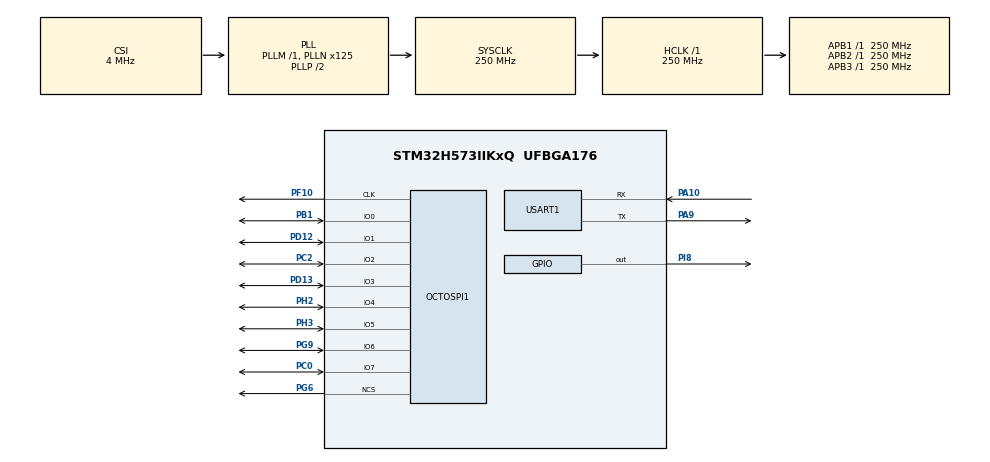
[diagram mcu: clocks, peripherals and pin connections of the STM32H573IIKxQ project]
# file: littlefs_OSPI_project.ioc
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BOOTPATH.BootPathName=LEGACY
BOOTPATH.UserSelectedBootPath=LEGACY
CORTEX_M33_NS.userName=CORTEX_M33
Mcu.Family=STM32H5
Mcu.Name=STM32H573IIKxQ
Mcu.Package=UFBGA176
NVIC.PriorityGroup=NVIC_PRIORITYGROUP_4
OCTOSPI1.DelayHoldQuarterCycle=HAL_XSPI_DHQC_DISABLE
OCTOSPI1.FifoThresholdByte=1
OCTOSPI1.MemorySize=HAL_XSPI_SIZE_64B
OCTOSPI1.MemoryType=HAL_XSPI_MEMTYPE_MACRONIX
PA10.Mode=Asynchronous
PA10.Signal=USART1_RX
PA9.Mode=Asynchronous
PA9.Signal=USART1_TX
PB1.Mode=OCTOSPI1_IO_Octo
PB1.Signal=OCTOSPI1_IO0
PB2.Signal=OCTOSPI1_DQS
PC0.Mode=OCTOSPI1_IO_Octo
PC0.Signal=OCTOSPI1_IO7
PC2.Mode=OCTOSPI1_IO_Octo
PC2.Signal=OCTOSPI1_IO2
PD12.Mode=OCTOSPI1_IO_Octo
PD12.Signal=OCTOSPI1_IO1
PD13.Mode=OCTOSPI1_IO_Octo
PD13.Signal=OCTOSPI1_IO3
PF10.Mode=octo_mode
PF10.Signal=OCTOSPI1_CLK
PG6.Mode=octo_mode
PG6.Signal=OCTOSPI1_NCS
PG9.Mode=OCTOSPI1_IO_Octo
PG9.Signal=OCTOSPI1_IO6
PH2.Mode=OCTOSPI1_IO_Octo
PH2.Signal=OCTOSPI1_IO4
PH3.Mode=OCTOSPI1_IO_Octo
PH3.Signal=OCTOSPI1_IO5
PI8.Signal=GPIO_Output
ProjectManager.HeapSize=0x200
ProjectManager.StackSize=0x400
ProjectManager.TargetToolchain=STM32CubeIDE
RCC.ADCFreq_Value=250000000
RCC.AHBFreq_Value=250000000
RCC.APB1Freq_Value=250000000
RCC.APB1TimFreq_Value=250000000
RCC.APB2Freq_Value=250000000
RCC.APB2TimFreq_Value=250000000
RCC.APB3Freq_Value=250000000
RCC.CSI_VALUE=4000000
RCC.CortexFreq_Value=250000000
RCC.EPOD_VALUE=4000000
RCC.HCLKFreq_Value=250000000
RCC.HSE_VALUE=25000000
RCC.HSI48_VALUE=48000000
RCC.HSI_VALUE=64000000
RCC.LSE_VALUE=32768
RCC.LSIRC_VALUE=32000
RCC.PLLFRACN=0
RCC.PLLN=125
RCC.SYSCLKFreq_VALUE=250000000
RCC.SYSCLKSource=RCC_SYSCLKSOURCE_PLLCLK
RCC.USBFreq_Value=48000000
RCC.VCOOutputFreq_Value=500000000
USART1.VirtualMode-Asynchronous=VM_ASYNC
VP_BOOTPATH_VS_BOOTPATH.Mode=BP_Activate
VP_CORTEX_M33_NS_VS_Hclk.Mode=Hclk_Mode
VP_ICACHE_VS_ICACHE.Mode=DefaultMode
VP_MEMORYMAP_VS_MEMORYMAP.Mode=CurAppReg
VP_PWR_VS_LPOM.Mode=PowerOptimisation
VP_PWR_VS_SECSignals.Mode=Security/Privilege
board=custom

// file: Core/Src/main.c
/* USER CODE BEGIN Header */
/* USER CODE END Header */

#include "main.h"
#include "icache.h"
#include "memorymap.h"
#include "octospi.h"
#include "usart.h"
#include "gpio.h"

/* USER CODE BEGIN Includes */
#include "lfs.h"
#include "lfs_util.h"
#include "xspi_driver.h"
#include "stm32h573i_discovery_ospi.h"
#include "lfs_config.h"
/* USER CODE END Includes */

void SystemClock_Config(void);
/* USER CODE BEGIN PFP */
void blink_led(int times) {
  for (int i = 0; i < times; i++) {
    HAL_GPIO_TogglePin(GPIOI, GPIO_PIN_8); // LD2
    HAL_Delay(500);
    HAL_GPIO_TogglePin(GPIOI, GPIO_PIN_8);
    HAL_Delay(500);
  }
}
/* USER CODE END PFP */

int main(void)
{

  /* MCU Configuration--------------------------------------------------------*/
  HAL_Init();

  SystemClock_Config();

  MX_GPIO_Init();
  MX_ICACHE_Init();
  MX_OCTOSPI1_Init();
  MX_USART1_UART_Init();

  /* USER CODE BEGIN 2 */
  HAL_UART_Transmit(&huart1, (uint8_t*)"Init done. Starting LittleFS test...\r\n", 38, HAL_MAX_DELAY);
  blink_led(4);

  lfs_t lfs;
  struct lfs_config cfg;

  if (lfs_init(&lfs, &cfg) != 0) {
    Error_Handler();
  }

  lfs_file_t file;
  const char *text = "Hello from LittleFS!\r\n";
  if (lfs_file_open(&lfs, &file, "test.txt", LFS_O_WRONLY | LFS_O_CREAT) < 0) {
    Error_Handler();
  }
  lfs_file_write(&lfs, &file, text, strlen(text));
  lfs_file_close(&lfs, &file);

  char buffer[64] = {0};
  if (lfs_file_open(&lfs, &file, "test.txt", LFS_O_RDONLY) < 0) {
    Error_Handler();
  }
  lfs_file_read(&lfs, &file, buffer, sizeof(buffer));
  lfs_file_close(&lfs, &file);
  HAL_UART_Transmit(&huart1, (uint8_t*)buffer, strlen(buffer), HAL_MAX_DELAY);
  blink_led(5);

  lfs_file_t file2;
  const char *text2 = "Test File2!\r\n";
  if (lfs_file_open(&lfs, &file2, "test2.txt", LFS_O_WRONLY | LFS_O_CREAT) < 0) {
    Error_Handler();
  }
  lfs_file_write(&lfs, &file2, text2, strlen(text2));
  lfs_file_close(&lfs, &file2);

  if (lfs_file_open(&lfs, &file2, "test2.txt", LFS_O_RDONLY) < 0) {
    Error_Handler();
  }
  char bufferr[64] = {0};
  lfs_file_read(&lfs, &file2, bufferr, sizeof(bufferr));
  lfs_file_close(&lfs, &file2);
  HAL_UART_Transmit(&huart1, (uint8_t*)bufferr, strlen(bufferr), HAL_MAX_DELAY);
  blink_led(5);

  HAL_UART_Transmit(&huart1, (uint8_t*)"Testing lfs_remove()...\r\n", 26, HAL_MAX_DELAY);

  int err = lfs_remove(&lfs, "test.txt");
  if (err == 0) {
    HAL_UART_Transmit(&huart1, (uint8_t*)"File removed successfully.\r\n", 29, HAL_MAX_DELAY);
  } else if (err == LFS_ERR_NOENT) {
    HAL_UART_Transmit(&huart1, (uint8_t*)"File did not exist (OK).\r\n", 27, HAL_MAX_DELAY);
  } else {
    HAL_UART_Transmit(&huart1, (uint8_t*)"Remove failed!\r\n", 17, HAL_MAX_DELAY);
    blink_led(3);
    Error_Handler();
  }

  const char *msg = "contenu file 2!\r\n";
  err = lfs_file_open(&lfs, &file, "test.txt", LFS_O_WRONLY | LFS_O_CREAT);
  if (err < 0) {
    HAL_UART_Transmit(&huart1, (uint8_t*)"Failed to create file\r\n", 24, HAL_MAX_DELAY);
    Error_Handler();
  }
  lfs_file_write(&lfs, &file, msg, strlen(msg));
  lfs_file_close(&lfs, &file);

  err = lfs_file_open(&lfs, &file, "test.txt", LFS_O_RDONLY);
  if (err < 0) {
    HAL_UART_Transmit(&huart1, (uint8_t*)"Read failed\r\n", 14, HAL_MAX_DELAY);
    Error_Handler();
  }
  char buffer2[64] = {0};
  lfs_file_read(&lfs, &file, buffer2, sizeof(buffer2));
  lfs_file_close(&lfs, &file);
  HAL_UART_Transmit(&huart1, (uint8_t*)"Read content: ", 14, HAL_MAX_DELAY);
  HAL_UART_Transmit(&huart1, (uint8_t*)buffer2, strlen(buffer2), HAL_MAX_DELAY);

  err = lfs_remove(&lfs, "test.txt");
  if (err == 0) {
    HAL_UART_Transmit(&huart1, (uint8_t*)"\r\nFile removed again successfully.\r\n", 35, HAL_MAX_DELAY);
  } else {
    HAL_UART_Transmit(&huart1, (uint8_t*)"\r\nFinal remove failed.\r\n", 24, HAL_MAX_DELAY);
    Error_Handler();
  }

  err = lfs_file_open(&lfs, &file2, "test.txt", LFS_O_RDONLY);
  if (err == LFS_ERR_NOENT) {
    HAL_UART_Transmit(&huart1, (uint8_t*)"Confirmed: file no longer exists.\r\n", 35, HAL_MAX_DELAY);
    blink_led(2);
  } else {
    HAL_UART_Transmit(&huart1, (uint8_t*)"ERROR: File still exists.\r\n", 27, HAL_MAX_DELAY);
    lfs_file_close(&lfs, &file2);
    blink_led(4);
    Error_Handler();
  }

  /* USER CODE END 2 */

  /* Infinite loop */
  while (1)
  {

  }
}

void SystemClock_Config(void)
{
  RCC_OscInitTypeDef RCC_OscInitStruct = {0};
  RCC_ClkInitTypeDef RCC_ClkInitStruct = {0};

  __HAL_PWR_VOLTAGESCALING_CONFIG(PWR_REGULATOR_VOLTAGE_SCALE0);
  while(!__HAL_PWR_GET_FLAG(PWR_FLAG_VOSRDY)) {}

  RCC_OscInitStruct.OscillatorType = RCC_OSCILLATORTYPE_CSI;
  RCC_OscInitStruct.CSIState = RCC_CSI_ON;
  RCC_OscInitStruct.CSICalibrationValue = RCC_CSICALIBRATION_DEFAULT;
  RCC_OscInitStruct.PLL.PLLState = RCC_PLL_ON;
  RCC_OscInitStruct.PLL.PLLSource = RCC_PLL1_SOURCE_CSI;
  RCC_OscInitStruct.PLL.PLLM = 1;
  RCC_OscInitStruct.PLL.PLLN = 125;
  RCC_OscInitStruct.PLL.PLLP = 2;
  RCC_OscInitStruct.PLL.PLLQ = 2;
  RCC_OscInitStruct.PLL.PLLR = 2;
  RCC_OscInitStruct.PLL.PLLRGE = RCC_PLL1_VCIRANGE_2;
  RCC_OscInitStruct.PLL.PLLVCOSEL = RCC_PLL1_VCORANGE_WIDE;
  RCC_OscInitStruct.PLL.PLLFRACN = 0;
  if (HAL_RCC_OscConfig(&RCC_OscInitStruct) != HAL_OK)
  {
    Error_Handler();
  }

  RCC_ClkInitStruct.ClockType = RCC_CLOCKTYPE_HCLK|RCC_CLOCKTYPE_SYSCLK
                              |RCC_CLOCKTYPE_PCLK1|RCC_CLOCKTYPE_PCLK2
                              |RCC_CLOCKTYPE_PCLK3;
  RCC_ClkInitStruct.SYSCLKSource = RCC_SYSCLKSOURCE_PLLCLK;
  RCC_ClkInitStruct.AHBCLKDivider = RCC_SYSCLK_DIV1;
  RCC_ClkInitStruct.APB1CLKDivider = RCC_HCLK_DIV1;
  RCC_ClkInitStruct.APB2CLKDivider = RCC_HCLK_DIV1;
  RCC_ClkInitStruct.APB3CLKDivider = RCC_HCLK_DIV1;

  if (HAL_RCC_ClockConfig(&RCC_ClkInitStruct, FLASH_LATENCY_5) != HAL_OK)
  {
    Error_Handler();
  }

  __HAL_FLASH_SET_PROGRAM_DELAY(FLASH_PROGRAMMING_DELAY_2);
}

void Error_Handler(void)
{
  __disable_irq();
  while (1)
  {
    HAL_GPIO_TogglePin(GPIOI, GPIO_PIN_9);
    HAL_Delay(100);
  }
}
